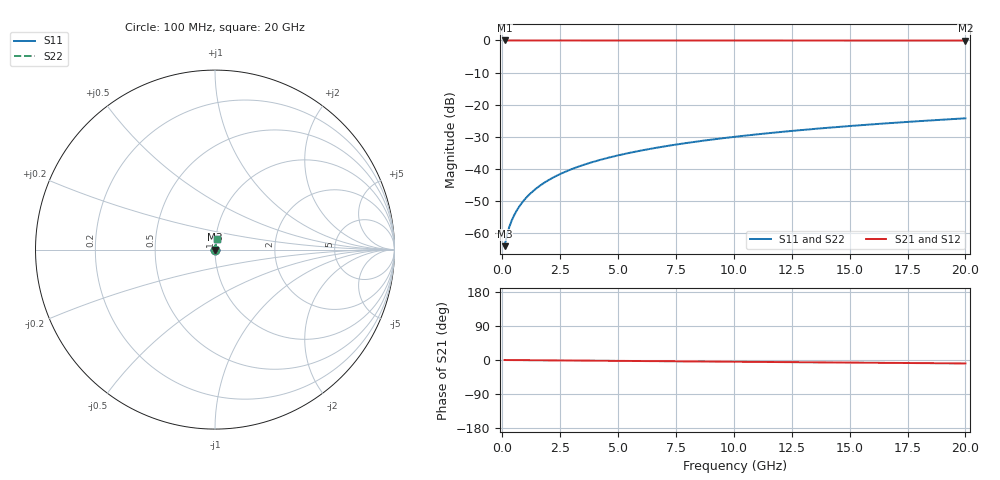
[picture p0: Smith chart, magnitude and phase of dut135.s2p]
! Touchstone file exported from HFSS 2026.1.0
!  File:  C:/ffzhzh/LocalFiles/Ansys_Project_Files/temp_train_TMRDL_135_1782982864_45328.aedt
!  Generated:  05:02:17 PM Jul  2, 2026
!  Design:  TMRDL
!  Project:  temp_train_TMRDL_135_1782982864_45328
! Variables:
!  h_bsmrdl = 2um
!  h_ox = 20um
!  h_rdl = 5um
!  h_sub = 80um
!  h_tmrdl = 4.88um
!  h_tsv = 80um
!  h_via = 3um
!  l_bsmrdl = 300um
!  l_sub = 520.16um
!  l_tmrdl = 120.16um
!  m_sub = 200um
!  pitch = 44.65um
!  r_tsv = 6um
!  s_tmrdl = 10um
!  w_bsmrdl = 18um
!  w_sub = 500um
!  w_tmrdl = 29.09um
!  x_tsv_center1 = 134.705um
!  x_tsv_center2 = 452.705um
!  x_tsv_center3 = 601.955um
!  x_tsv_center4 = 919.955um
!  x_tsv_center5 = 1069.205um
!  x_tsv_center6 = 1387.205um
# GHz S MA R 50.000000
! Terminal data exported
! Port[1] = TM_RDL1_1_T1
! Port[2] = TM_RDL1_1_T2
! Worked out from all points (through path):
!   200 points, 100 MHz to 20 GHz, reference 50 ohm
!   highest |S21| = 0.00 dB at 100 MHz (marker M1); lowest = 0.0 dB at 20 GHz (marker M2)
!   group delay of S21, straight-line fit = 1.26 ps
!   lowest |S11| = -64.0 dB at 100 MHz (marker M3), VSWR 1.00, Z = 50 + j0.0398 ohm
!   |S11| at or under -10 dB: start of sweep to end of sweep
!   |S22| runs from -64.0 to -24.2 dB; largest |S21 - S12| = 3.5e-15
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0.1  0.0006311 39.1  0.9995 -0.1  0.9995 -0.1  0.0006311 39.1
! Gamma 0 0 0 0
! Port Impedance 50 0 50 0
0.2  0.0009347 55.0  0.9995 -0.1  0.9995 -0.1  0.0009347 55.0
0.3  0.001249 62.3  0.9994 -0.1  0.9994 -0.1  0.001249 62.3
0.4  0.001561 66.9  0.9994 -0.2  0.9994 -0.2  0.001561 66.9
0.5  0.001874 70.0  0.9994 -0.2  0.9994 -0.2  0.001874 70.0
0.6  0.002188 72.4  0.9993 -0.3  0.9993 -0.3  0.002188 72.4
0.8  0.002825 75.8  0.9993 -0.4  0.9993 -0.4  0.002825 75.8
1.1  0.003794 78.7  0.9993 -0.5  0.9993 -0.5  0.003794 78.7
1.3  0.004445 79.9  0.9992 -0.6  0.9992 -0.6  0.004445 79.9
1.6  0.005425 81.1  0.9992 -0.8  0.9992 -0.8  0.005425 81.1
2.1  0.007057 82.2  0.9991 -1.0  0.9991 -1.0  0.007057 82.2
2.7  0.009004 82.8  0.999 -1.3  0.999 -1.3  0.009004 82.8
3.5  0.01157 83.0  0.9989 -1.6  0.9989 -1.6  0.01157 83.0
4.2  0.01379 83.0  0.9987 -2.0  0.9987 -2.0  0.01379 83.0
5  0.0163 82.9  0.9985 -2.3  0.9985 -2.3  0.0163 82.9
5.9  0.0191 82.8  0.9983 -2.7  0.9983 -2.7  0.0191 82.8
6.8  0.02187 82.6  0.9981 -3.1  0.9981 -3.1  0.02187 82.6
8.3  0.02645 82.2  0.9978 -3.8  0.9978 -3.8  0.02645 82.2
10.1  0.0319 81.7  0.9974 -4.6  0.9974 -4.6  0.0319 81.7
13.4  0.04184 80.6  0.9967 -6.1  0.9967 -6.1  0.04184 80.6
16.7  0.0517 79.4  0.996 -7.6  0.996 -7.6  0.0517 79.4
20  0.06147 78.2  0.9952 -9.1  0.9952 -9.1  0.06147 78.2
